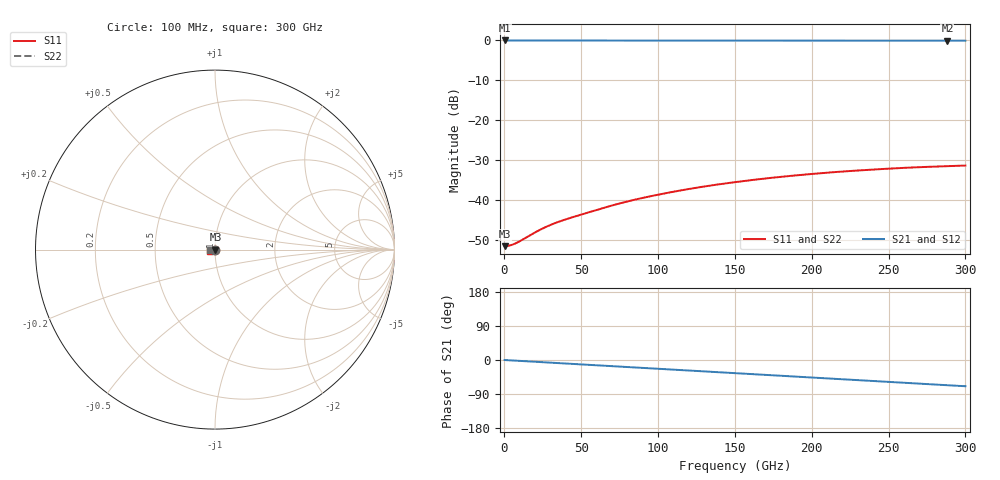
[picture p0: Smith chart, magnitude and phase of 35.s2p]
#  Hz  S  RI  R  50
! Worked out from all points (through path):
!   3000 points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, 100 MHz to 300 GHz, reference 50 ohm
!   highest |S21| = -0.02 dB at 100 MHz (marker M1); lowest = -0.1 dB at 288.3 GHz (marker M2)
!   group delay of S21, straight-line fit = 641 fs
!   lowest |S11| = -51.5 dB at 100 MHz (marker M3), VSWR 1.01, Z = 50.3 - j0.00011 ohm
!   |S11| at or under -10 dB: start of sweep to end of sweep
!   |S22| runs from -51.5 to -31.4 dB; largest |S21 - S12| = 0.00016
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1e8  0.00265 -1.09e-06  0.9974 -0.000416  0.9974 -0.000417  0.00266 -1.05e-06
3.6e9  0.00271 -4.77e-05  0.9972 -0.015  0.9972 -0.015  0.00271 -4.58e-05
7.4e9  0.00288 -0.000151  0.9966 -0.0307  0.9966 -0.0307  0.00288 -0.000145
1.09e10  0.00311 -0.00033  0.9958 -0.0451  0.9958 -0.0451  0.0031 -0.000317
2.21e10  0.00385 -0.00154  0.9917 -0.0901  0.9917 -0.0901  0.00384 -0.00149
2.62e10  0.00399 -0.00216  0.9899 -0.1064  0.9899 -0.1064  0.00398 -0.0021
3.04e10  0.00404 -0.00282  0.9878 -0.123  0.9878 -0.123  0.00403 -0.00275
3.85e10  0.00389 -0.00406  0.9832 -0.1551  0.9832 -0.1551  0.0039 -0.00397
5.01e10  0.00345 -0.00562  0.9746 -0.2009  0.9746 -0.201  0.00346 -0.00553
6.64e10  0.00265 -0.00773  0.9588 -0.2643  0.9588 -0.2643  0.00266 -0.0076
7.65e10  0.00193 -0.00904  0.9471 -0.3029  0.9471 -0.3029  0.00196 -0.00889
8.74e10  0.000964 -0.0103  0.9327 -0.3441  0.9327 -0.3441  0.001 -0.0102
1.001e11  -0.000326 -0.0117  0.9136 -0.3913  0.9136 -0.3912  -0.000282 -0.0115
1.245e11  -0.00328 -0.0139  0.8705 -0.4787  0.8705 -0.4787  -0.00322 -0.0136
1.501e11  -0.00692 -0.0153  0.8163 -0.5654  0.8163 -0.5654  -0.00685 -0.015
1.743e11  -0.0107 -0.0158  0.7573 -0.6418  0.7573 -0.6418  -0.0106 -0.0155
2.001e11  -0.0147 -0.0153  0.6864 -0.7165  0.6864 -0.7165  -0.0146 -0.0151
2.235e11  -0.0182 -0.0141  0.6158 -0.7777  0.6157 -0.7777  -0.0181 -0.0138
2.501e11  -0.0218 -0.0118  0.529 -0.8387  0.529 -0.8388  -0.0216 -0.0115
2.689e11  -0.0239 -0.00954  0.4639 -0.8762  0.4638 -0.8761  -0.0238 -0.00926
2.883e11  -0.0257 -0.00694  0.3941 -0.9093  0.3942 -0.9094  -0.0256 -0.00665
3e11  -0.0266 -0.0052  0.3508 -0.9269  0.3507 -0.927  -0.0264 -0.00496
